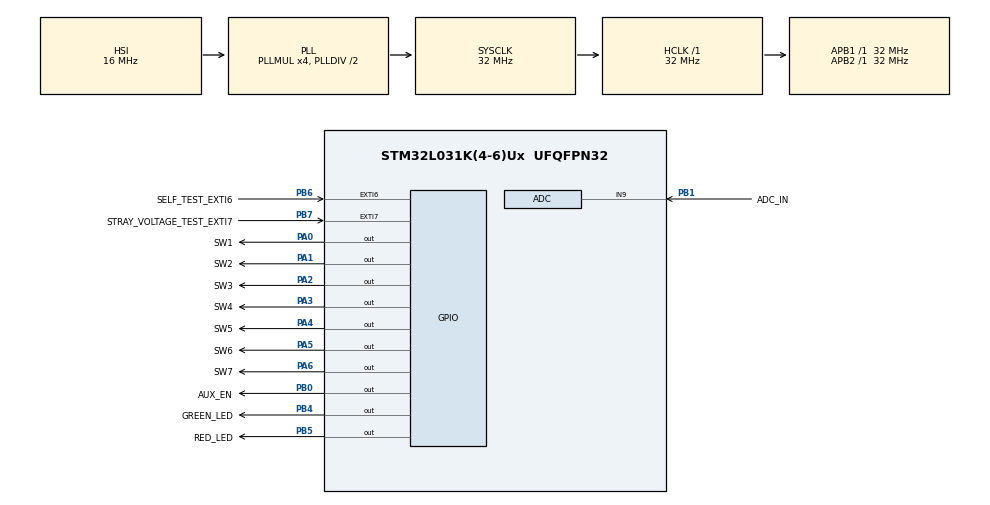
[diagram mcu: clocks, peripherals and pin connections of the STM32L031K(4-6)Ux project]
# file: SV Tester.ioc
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ADC.ClockPrescaler=ADC_CLOCK_SYNC_PCLK_DIV2
ADC.ContinuousConvMode=ENABLE
ADC.EOCSelection=ADC_EOC_SINGLE_CONV
ADC.LowPowerFrequencyMode=DISABLE
ADC.OversamplingMode=DISABLE
ADC.SamplingTime=ADC_SAMPLETIME_160CYCLES_5
Dma.ADC.0.Direction=DMA_PERIPH_TO_MEMORY
Dma.ADC.0.Instance=DMA1_Channel1
Dma.ADC.0.MemDataAlignment=DMA_MDATAALIGN_HALFWORD
Dma.ADC.0.MemInc=DMA_MINC_ENABLE
Dma.ADC.0.Mode=DMA_NORMAL
Dma.ADC.0.PeriphDataAlignment=DMA_PDATAALIGN_HALFWORD
Dma.ADC.0.PeriphInc=DMA_PINC_DISABLE
Dma.ADC.0.Priority=DMA_PRIORITY_VERY_HIGH
Dma.Request0=ADC
Mcu.Family=STM32L0
Mcu.Name=STM32L031K(4-6)Ux
Mcu.Package=UFQFPN32
NVIC.DMA1_Channel1_IRQn=true\:0\:0\:false\:false\:true\:false\:true\:true
NVIC.EXTI4_15_IRQn=true\:0\:0\:false\:false\:true\:true\:true\:true
PA0-CK_IN.GPIO_Label=SW1
PA0-CK_IN.GPIO_ModeDefaultOutputPP=GPIO_MODE_OUTPUT_OD
PA0-CK_IN.GPIO_PuPd=GPIO_PULLUP
PA0-CK_IN.PinState=GPIO_PIN_SET
PA0-CK_IN.Signal=GPIO_Output
PA1.GPIO_Label=SW2
PA1.GPIO_ModeDefaultOutputPP=GPIO_MODE_OUTPUT_OD
PA1.GPIO_PuPd=GPIO_PULLUP
PA1.PinState=GPIO_PIN_SET
PA1.Signal=GPIO_Output
PA13.Mode=Serial_Wire
PA13.Signal=SYS_SWDIO
PA14.Mode=Serial_Wire
PA14.Signal=SYS_SWCLK
PA2.GPIO_Label=SW3
PA2.GPIO_ModeDefaultOutputPP=GPIO_MODE_OUTPUT_OD
PA2.GPIO_PuPd=GPIO_PULLUP
PA2.PinState=GPIO_PIN_SET
PA2.Signal=GPIO_Output
PA3.GPIO_Label=SW4
PA3.GPIO_ModeDefaultOutputPP=GPIO_MODE_OUTPUT_OD
PA3.GPIO_PuPd=GPIO_PULLUP
PA3.PinState=GPIO_PIN_SET
PA3.Signal=GPIO_Output
PA4.GPIO_Label=SW5
PA4.GPIO_ModeDefaultOutputPP=GPIO_MODE_OUTPUT_OD
PA4.GPIO_PuPd=GPIO_PULLUP
PA4.PinState=GPIO_PIN_SET
PA4.Signal=GPIO_Output
PA5.GPIO_Label=SW6
PA5.GPIO_ModeDefaultOutputPP=GPIO_MODE_OUTPUT_OD
PA5.GPIO_PuPd=GPIO_PULLUP
PA5.PinState=GPIO_PIN_SET
PA5.Signal=GPIO_Output
PA6.GPIO_Label=SW7
PA6.GPIO_ModeDefaultOutputPP=GPIO_MODE_OUTPUT_OD
PA6.GPIO_PuPd=GPIO_PULLUP
PA6.PinState=GPIO_PIN_SET
PA6.Signal=GPIO_Output
PB0.GPIO_Label=AUX_EN
PB0.GPIO_ModeDefaultOutputPP=GPIO_MODE_OUTPUT_OD
PB0.GPIO_PuPd=GPIO_PULLUP
PB0.PinState=GPIO_PIN_SET
PB0.Signal=GPIO_Output
PB1.GPIO_Label=ADC_IN
PB1.Mode=IN9
PB1.Signal=ADC_IN9
PB4.GPIO_Label=GREEN_LED
PB4.GPIO_ModeDefaultOutputPP=GPIO_MODE_OUTPUT_PP
PB4.GPIO_PuPd=GPIO_NOPULL
PB4.PinState=GPIO_PIN_RESET
PB4.Signal=GPIO_Output
PB5.GPIO_Label=RED_LED
PB5.GPIO_ModeDefaultOutputPP=GPIO_MODE_OUTPUT_PP
PB5.GPIO_PuPd=GPIO_NOPULL
PB5.PinState=GPIO_PIN_RESET
PB5.Signal=GPIO_Output
PB6.GPIO_Label=SELF_TEST_EXTI6
PB6.GPIO_ModeDefaultEXTI=GPIO_MODE_IT_RISING
PB6.Signal=GPXTI6
PB7.GPIO_Label=STRAY_VOLTAGE_TEST_EXTI7
PB7.Signal=GPXTI7
ProjectManager.HeapSize=0x200
ProjectManager.StackSize=0x400
ProjectManager.TargetToolchain=STM32CubeIDE
RCC.AHBFreq_Value=32000000
RCC.APB1Freq_Value=32000000
RCC.APB1TimFreq_Value=32000000
RCC.APB2Freq_Value=32000000
RCC.APB2TimFreq_Value=32000000
RCC.HCLKFreq_Value=32000000
RCC.HSE_VALUE=8000000
RCC.HSI16_VALUE=16000000
RCC.HSI_VALUE=16000000
RCC.LSE_VALUE=32768
RCC.MSI_VALUE=2097000
RCC.PLLMUL=RCC_PLLMUL_4
RCC.SYSCLKFreq_VALUE=32000000
RCC.SYSCLKSource=RCC_SYSCLKSOURCE_PLLCLK
RCC.VCOOutputFreq_Value=64000000
board=custom

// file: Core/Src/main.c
/* USER CODE BEGIN Header */
/**
  ******************************************************************************
  * @file           : main.c
  * @brief          : Main program body
  ******************************************************************************
  * @attention
  *
  * Copyright (c) 2024 RADGA9 GAF AHAT.
  * All rights reserved.
  *
  * This software is licensed under terms that can be found in the LICENSE file
  * in the root directory of this software component.
  * If no LICENSE file comes with this software, it is provided AS-IS.
  *
  ******************************************************************************
  */
/* USER CODE END Header */
#include "main.h"

/* USER CODE BEGIN Includes */
#include "SVFunc.h"
#include "math.h"
/* USER CODE END Includes */

ADC_HandleTypeDef hadc;
DMA_HandleTypeDef hdma_adc;

/* USER CODE BEGIN PV */

SVT_Mode ModeFlag = SLEEP_MODE;
SVT_TestStatus TestStatus = TEST_FAILED;
SVT_SamplesValues SamplesValues;

uint8_t	SwitchArray[6] = {SW1_Pin,SW2_Pin,SW3_Pin,SW4_Pin,SW5_Pin,SW6_Pin};

/* USER CODE END PV */

void SystemClock_Config(void);
static void MX_GPIO_Init(void);
static void MX_DMA_Init(void);
static void MX_ADC_Init(void);

/* USER CODE BEGIN 0 */

void HAL_GPIO_EXTI_Callback(uint16_t GPIO_Pin)
{
	if(GPIO_Pin == SELF_TEST_EXTI6_Pin)
	{
		ModeFlag = SELF_TEST;
	}
	else if(GPIO_Pin == STRAY_VOLTAGE_TEST_EXTI7_Pin)
	{
		ModeFlag = SV_TEST;
	}
}

/* USER CODE END 0 */

int main(void)
{

  /* MCU Configuration--------------------------------------------------------*/

  /* Reset of all peripherals, Initializes the Flash interface and the Systick. */
  HAL_Init();

  /* Configure the system clock */
  SystemClock_Config();

  /* Initialize all configured peripherals */
  MX_GPIO_Init();
  MX_DMA_Init();
  MX_ADC_Init();
  /* USER CODE BEGIN 2 */

  SamplesValues.RMSValue = 0;
  SamplesValues.SamplesAvg = 0;
  SamplesValues.SamplesSum = 0;

  /* USER CODE END 2 */

  /* Infinite loop */
	while (1)
	{

    /* USER CODE BEGIN 3 */

		/*This is necessary after exiting stop mode*/
		SystemClock_Config();					//System Clock Configuration
		HAL_ResumeTick();						//Resumes the Tick increment
		HAL_ADC_Start(&hadc);					//Enable ADC, start conversion of regular group

		/*Default PINs states*/
		HAL_GPIO_WritePin(GPIOA, SW1_Pin, SET);
		HAL_GPIO_WritePin(GPIOA, SW2_Pin, SET);
		HAL_GPIO_WritePin(GPIOA, SW3_Pin, SET);
		HAL_GPIO_WritePin(GPIOA, SW4_Pin, SET);
		HAL_GPIO_WritePin(GPIOA, SW5_Pin, SET);
		HAL_GPIO_WritePin(GPIOA, SW6_Pin, SET);
		HAL_GPIO_WritePin(GPIOA, SW7_Pin, SET);
		HAL_GPIO_WritePin(GPIOB, AUX_EN_Pin, SET);

		/* The delay needs to make a sure of changing of voltage level in GPIOs*/
		HAL_Delay(50);

		/* Calculation Offset before tests*/
		SAMPLES_DC_Offset_Calibration(hadc);

		// in self test pass, blink both leds a couple times and then turn the respective led on until button released.
		// if failed, keep red led on until a self test passed, or for...10 sec?.
		if(ModeFlag == SELF_TEST)
		{
			HAL_GPIO_WritePin(GPIOB, AUX_EN_Pin, RESET);
			HAL_Delay(50);

			SAMPLES_Get(hadc,&SamplesValues);
			SAMPLES_To_Voltage(&SamplesValues);
			SAMPLES_Gain_Error_Calibration(&SamplesValues);
			TestStatus = DC_SV_Test(SamplesValues,SELF_TEST_VREF*0.95 , SELF_TEST_VREF*1.05);
			if(TestStatus == TEST_SUCCESS)
			{
				LEDs_Blink(1,200);
			}
			HAL_GPIO_WritePin(GPIOA, SW7_Pin, RESET);

			for(int i=0;i<6;i++)
			{

				HAL_GPIO_WritePin(GPIOA, SwitchArray[i], RESET);
				HAL_Delay(50);
				SAMPLES_Get(hadc,&SamplesValues);
				HAL_GPIO_WritePin(GPIOA, SwitchArray[i], SET);
				SAMPLES_Sum_Buffer(&SamplesValues);
				SamplesValues.SamplesAvg = SamplesValues.SamplesSum / SAMPLES_TIMES;
				SAMPLES_To_Voltage(&SamplesValues);
				SAMPLES_Gain_Error_Calibration(&SamplesValues);

				TestStatus = DC_SV_Test(SamplesValues, SELF_TEST_ADC_VAL*0.95, SELF_TEST_ADC_VAL*1.05);
				if(TestStatus == TEST_SUCCESS)
				{
					TestStatus = AC_RMS_Test(SamplesValues);
				}
				if(TestStatus == TEST_FAILED)
				{
					break;
				}
			}
			if(TestStatus == TEST_SUCCESS)
			{
				HAL_GPIO_WritePin(GPIOB, GREEN_LED_Pin, SET);
				HAL_Delay(200);
				HAL_GPIO_WritePin(GPIOB, GREEN_LED_Pin, RESET);
			}
			else if(TestStatus == TEST_FAILED)
			{
				HAL_GPIO_WritePin(GPIOB, RED_LED_Pin, SET);
				HAL_Delay(200);
				HAL_GPIO_WritePin(GPIOB, RED_LED_Pin, RESET);
			}

			HAL_GPIO_WritePin(GPIOB, AUX_EN_Pin, SET);
			ModeFlag = SLEEP_MODE;
		}

		// in stray voltage test, turn the green led until if passed until button released.
		// if failed, keep red led on until a self test passed, or for...10 sec?.
		//add test for all 6 pins
		else if(ModeFlag == SV_TEST)
		{
			HAL_GPIO_WritePin(GPIOB, AUX_EN_Pin, RESET);
			for(int i = 0 ; i < 6 ; i++)
			{
				HAL_GPIO_WritePin(GPIOA, SwitchArray[i], RESET);
				HAL_Delay(50);
				SAMPLES_Get(hadc,&SamplesValues);
				// SamplesValues.SamplesBuffer[i] = SamplesValues.SamplesBuffer[i];
				HAL_GPIO_WritePin(GPIOA, SwitchArray[i], SET);
				SAMPLES_To_Voltage(&SamplesValues);
				SAMPLES_Gain_Error_Calibration(&SamplesValues);
 				TestStatus = DC_SV_Test(SamplesValues, SELF_TEST_VREF-SV_DC_THRESHOLD, SELF_TEST_VREF+SV_DC_THRESHOLD);
				if(TestStatus == TEST_SUCCESS)
				{
					TestStatus = AC_RMS_Test(SamplesValues);
				}
				if(TestStatus == TEST_FAILED)
				{
					break;
				}

			}
			if(TestStatus == TEST_SUCCESS)
			{
				HAL_GPIO_WritePin(GPIOB, GREEN_LED_Pin, SET);
				HAL_Delay(250);
				HAL_GPIO_WritePin(GPIOB, GREEN_LED_Pin, RESET);
			}
			if(TestStatus == TEST_FAILED)
			{
				HAL_GPIO_WritePin(GPIOB, RED_LED_Pin, SET);
				HAL_Delay(250);
				HAL_GPIO_WritePin(GPIOB, RED_LED_Pin, RESET);
			}

			HAL_GPIO_WritePin(GPIOB, AUX_EN_Pin, SET);
 			ModeFlag = SLEEP_MODE;
		}

		/*Entering to sleep mode if the flag is SLEEP_MODE*/
		if(ModeFlag == SLEEP_MODE)
		{
			HAL_ADC_Stop(&hadc);													//Stop the ADC
			HAL_SuspendTick();														//Suspend the tick count
			HAL_PWR_EnterSTOPMode(PWR_LOWPOWERREGULATOR_ON, PWR_STOPENTRY_WFI);		//Enter to stop-mode with interrupt wake-up
		}
	}
  /* USER CODE END 3 */
}

void SystemClock_Config(void)
{
  RCC_OscInitTypeDef RCC_OscInitStruct = {0};
  RCC_ClkInitTypeDef RCC_ClkInitStruct = {0};

  /** Configure the main internal regulator output voltage
  */
  __HAL_PWR_VOLTAGESCALING_CONFIG(PWR_REGULATOR_VOLTAGE_SCALE1);

  /** Initializes the RCC Oscillators according to the specified parameters
  * in the RCC_OscInitTypeDef structure.
  */
  RCC_OscInitStruct.OscillatorType = RCC_OSCILLATORTYPE_HSI;
  RCC_OscInitStruct.HSIState = RCC_HSI_ON;
  RCC_OscInitStruct.HSICalibrationValue = RCC_HSICALIBRATION_DEFAULT;
  RCC_OscInitStruct.PLL.PLLState = RCC_PLL_ON;
  RCC_OscInitStruct.PLL.PLLSource = RCC_PLLSOURCE_HSI;
  RCC_OscInitStruct.PLL.PLLMUL = RCC_PLLMUL_4;
  RCC_OscInitStruct.PLL.PLLDIV = RCC_PLLDIV_2;
  if (HAL_RCC_OscConfig(&RCC_OscInitStruct) != HAL_OK)
  {
    Error_Handler();
  }

  /** Initializes the CPU, AHB and APB buses clocks
  */
  RCC_ClkInitStruct.ClockType = RCC_CLOCKTYPE_HCLK|RCC_CLOCKTYPE_SYSCLK
                              |RCC_CLOCKTYPE_PCLK1|RCC_CLOCKTYPE_PCLK2;
  RCC_ClkInitStruct.SYSCLKSource = RCC_SYSCLKSOURCE_PLLCLK;
  RCC_ClkInitStruct.AHBCLKDivider = RCC_SYSCLK_DIV1;
  RCC_ClkInitStruct.APB1CLKDivider = RCC_HCLK_DIV1;
  RCC_ClkInitStruct.APB2CLKDivider = RCC_HCLK_DIV1;

  if (HAL_RCC_ClockConfig(&RCC_ClkInitStruct, FLASH_LATENCY_1) != HAL_OK)
  {
    Error_Handler();
  }
}

static void MX_ADC_Init(void)
{

  ADC_ChannelConfTypeDef sConfig = {0};

  /** Configure the global features of the ADC (Clock, Resolution, Data Alignment and number of conversion)
  */
  hadc.Instance = ADC1;
  hadc.Init.OversamplingMode = DISABLE;
  hadc.Init.ClockPrescaler = ADC_CLOCK_SYNC_PCLK_DIV2;
  hadc.Init.Resolution = ADC_RESOLUTION_12B;
  hadc.Init.SamplingTime = ADC_SAMPLETIME_160CYCLES_5;
  hadc.Init.ScanConvMode = ADC_SCAN_DIRECTION_FORWARD;
  hadc.Init.DataAlign = ADC_DATAALIGN_RIGHT;
  hadc.Init.ContinuousConvMode = ENABLE;
  hadc.Init.DiscontinuousConvMode = DISABLE;
  hadc.Init.ExternalTrigConvEdge = ADC_EXTERNALTRIGCONVEDGE_NONE;
  hadc.Init.ExternalTrigConv = ADC_SOFTWARE_START;
  hadc.Init.DMAContinuousRequests = DISABLE;
  hadc.Init.EOCSelection = ADC_EOC_SINGLE_CONV;
  hadc.Init.Overrun = ADC_OVR_DATA_PRESERVED;
  hadc.Init.LowPowerAutoWait = DISABLE;
  hadc.Init.LowPowerFrequencyMode = DISABLE;
  hadc.Init.LowPowerAutoPowerOff = DISABLE;
  if (HAL_ADC_Init(&hadc) != HAL_OK)
  {
    Error_Handler();
  }

  /** Configure for the selected ADC regular channel to be converted.
  */
  sConfig.Channel = ADC_CHANNEL_9;
  sConfig.Rank = ADC_RANK_CHANNEL_NUMBER;
  if (HAL_ADC_ConfigChannel(&hadc, &sConfig) != HAL_OK)
  {
    Error_Handler();
  }

}

static void MX_DMA_Init(void)
{

  /* DMA controller clock enable */
  __HAL_RCC_DMA1_CLK_ENABLE();

  /* DMA interrupt init */
  /* DMA1_Channel1_IRQn interrupt configuration */
  HAL_NVIC_SetPriority(DMA1_Channel1_IRQn, 0, 0);
  HAL_NVIC_EnableIRQ(DMA1_Channel1_IRQn);

}

static void MX_GPIO_Init(void)
{
  GPIO_InitTypeDef GPIO_InitStruct = {0};

  /* GPIO Ports Clock Enable */
  __HAL_RCC_GPIOA_CLK_ENABLE();
  __HAL_RCC_GPIOB_CLK_ENABLE();

  /*Configure GPIO pin Output Level */
  HAL_GPIO_WritePin(GPIOA, SW1_Pin|SW2_Pin|SW3_Pin|SW4_Pin
                          |SW5_Pin|SW6_Pin|SW7_Pin, GPIO_PIN_SET);

  /*Configure GPIO pin Output Level */
  HAL_GPIO_WritePin(AUX_EN_GPIO_Port, AUX_EN_Pin, GPIO_PIN_SET);

  /*Configure GPIO pin Output Level */
  HAL_GPIO_WritePin(GPIOB, GREEN_LED_Pin|RED_LED_Pin, GPIO_PIN_RESET);

  /*Configure GPIO pins : SW1_Pin SW2_Pin SW3_Pin SW4_Pin
                           SW5_Pin SW6_Pin SW7_Pin */
  GPIO_InitStruct.Pin = SW1_Pin|SW2_Pin|SW3_Pin|SW4_Pin
                          |SW5_Pin|SW6_Pin|SW7_Pin;
  GPIO_InitStruct.Mode = GPIO_MODE_OUTPUT_OD;
  GPIO_InitStruct.Pull = GPIO_PULLUP;
  GPIO_InitStruct.Speed = GPIO_SPEED_FREQ_LOW;
  HAL_GPIO_Init(GPIOA, &GPIO_InitStruct);

  /*Configure GPIO pin : AUX_EN_Pin */
  GPIO_InitStruct.Pin = AUX_EN_Pin;
  GPIO_InitStruct.Mode = GPIO_MODE_OUTPUT_OD;
  GPIO_InitStruct.Pull = GPIO_PULLUP;
  GPIO_InitStruct.Speed = GPIO_SPEED_FREQ_LOW;
  HAL_GPIO_Init(AUX_EN_GPIO_Port, &GPIO_InitStruct);

  /*Configure GPIO pins : GREEN_LED_Pin RED_LED_Pin */
  GPIO_InitStruct.Pin = GREEN_LED_Pin|RED_LED_Pin;
  GPIO_InitStruct.Mode = GPIO_MODE_OUTPUT_PP;
  GPIO_InitStruct.Pull = GPIO_NOPULL;
  GPIO_InitStruct.Speed = GPIO_SPEED_FREQ_LOW;
  HAL_GPIO_Init(GPIOB, &GPIO_InitStruct);

  /*Configure GPIO pins : SELF_TEST_EXTI6_Pin STRAY_VOLTAGE_TEST_EXTI7_Pin */
  GPIO_InitStruct.Pin = SELF_TEST_EXTI6_Pin|STRAY_VOLTAGE_TEST_EXTI7_Pin;
  GPIO_InitStruct.Mode = GPIO_MODE_IT_RISING;
  GPIO_InitStruct.Pull = GPIO_NOPULL;
  HAL_GPIO_Init(GPIOB, &GPIO_InitStruct);

  /* EXTI interrupt init*/
  HAL_NVIC_SetPriority(EXTI4_15_IRQn, 0, 0);
  HAL_NVIC_EnableIRQ(EXTI4_15_IRQn);

}

void Error_Handler(void)
{
  __disable_irq();
  while (1)
  {
  }
}
